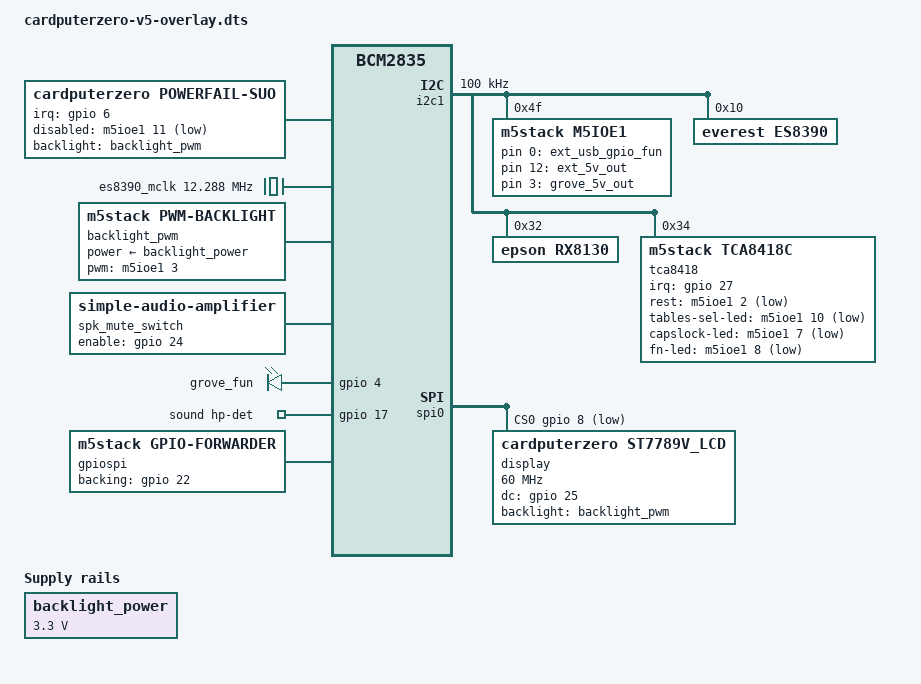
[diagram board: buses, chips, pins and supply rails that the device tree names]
// Definitions for ES8389 Audio HAT
/dts-v1/;
/plugin/;
// dtc -@ -I dts -O dtb -o es8389_m5stack.dtbo  es8389_m5stack.dts
/ {
    compatible = "brcm,bcm2835";
    
    fragment@0 {
        target = <&i2s_clk_producer>;
        __overlay__ {
            status = "okay";
        };
    };

    fragment@1 {
        target = <&gpio>;
        __overlay__ {
            tca8418_pins: tca8418_pins {
                    brcm,pins = <27>;
                    brcm,function = <0>;
                    brcm,pull = <2>;
            };
            sound_phones_pins: sound_phones_pins {
                    brcm,pins = <17>;
                    brcm,function = <0>;
                    brcm,pull = <2>;
            };
            grove_fun_pins: grove_fun_pins {
                    brcm,pins = <4>;
                    brcm,function = <1>;
                    brcm,pull = <0>;
            };
        };
    };

    fragment@2 {
        target = <&i2c1>;
        __overlay__ {
            #address-cells = <1>;
            #size-cells = <0>;
            clock-frequency = <100000>;
            status = "okay";

            
            m5ioe1: gpio@4f {
                    compatible = "m5stack,m5ioe1";
                    reg = <0x4f>;
                    
                    gpio-controller;
                    #gpio-cells = <2>;
                    ngpios = <16>;
                    
                    #pwm-cells = <3>;
                    status = "okay";

                    ext_usb_gpio_fun_pin: IO1 {
                            bias-disable;
                    };

                    grove_5v_out_pin: IO4 {
                            bias-disable;
                    };

                    ext_5v_out_pin: IO13 {
                            bias-disable;
                    };
            };

            es8390: es8390@10 {
                compatible = "everest,es8390";
                reg = <0x10>;
                #sound-dai-cells = <0>;
                clock-names = "mclk";
                clocks = <&es8390_mclk>;
                snd_def-ADCL_PGA_Volume = <8>;
                snd_def-ADCR_PGA_Volume = <8>;
                status = "okay";
            };


            rx8130: rx8130@32 {
                compatible = "epson,rx8130";
                reg = <0x32>;
                status = "okay";
            };


            tca8418@34 {
                compatible = "m5stack,tca8418c"; 
                reg = <0x34>;
                pinctrl-names = "default";
                pinctrl-0 = <&tca8418_pins>;
                interrupt-parent = <&gpio>;
                interrupts = <27 8>; /* Interrupt IO, low-level trigger */
                irq-gpios = <&gpio 27 0x00>;
                    
                keypad,num-rows = <5>;
                keypad,num-columns = <10>;

                rest-gpios      = <&m5ioe1 2 1>;

                tables-sel-led-gpio = <&m5ioe1 10 1>;
                capslock-led-gpio   = <&m5ioe1 7 1>;
                fn-led-gpio         = <&m5ioe1 8 1>;
                tables-sel-led-mode    = <&m5ioe1 0xBF>;
                capslock-led-mode    = <&m5ioe1 0xBD>;
                fn-led-mode    = <&m5ioe1 0xBE>;

                sym-button-code = <0x43>; 
                fn-button-code = <0x42>;  
                asmux-button-code = <0x41>; 

                // switch-button-code = <73>; /* Switch button keycode */
                // interrupt-controller;
                /* row | column | key-code, for example: 04,08,0010 for the Q key */
                /* row | column | key-code, for example: 04,08,0010 => Q key */
                linux,keymap = <
                    0x04000001 /* row=0x04 col=0x00 keycode=0x0001  KEY_ESC        Esc */
                    0x0409000f /* row=0x04 col=0x09 keycode=0x000f  KEY_TAB        Tab */

                    0x04040002 /* row=0x04 col=0x04 keycode=0x0002  KEY_1          1 */
                    0x00000003 /* row=0x00 col=0x00 keycode=0x0003  KEY_2          2 */
                    0x00010004 /* row=0x00 col=0x01 keycode=0x0004  KEY_3          3 */
                    0x00020005 /* row=0x00 col=0x02 keycode=0x0005  KEY_4          4 */
                    0x00030006 /* row=0x00 col=0x03 keycode=0x0006  KEY_5          5 */
                    0x00040007 /* row=0x00 col=0x04 keycode=0x0007  KEY_6          6 */
                    0x00050008 /* row=0x00 col=0x05 keycode=0x0008  KEY_7          7 */
                    0x00060009 /* row=0x00 col=0x06 keycode=0x0009  KEY_8          8 */
                    0x0007000a /* row=0x00 col=0x07 keycode=0x000a  KEY_9          9 */
                    0x0008000b /* row=0x00 col=0x08 keycode=0x000b  KEY_0          0 */
                    0x0009000e /* row=0x00 col=0x09 keycode=0x000e  KEY_BACKSPACE  Backspace */

                    /* 0x0403000f                                   Sym function key */
                    0x01000010 /* row=0x01 col=0x00 keycode=0x0010  KEY_Q          Q */
                    0x01010011 /* row=0x01 col=0x01 keycode=0x0011  KEY_W          W */
                    0x01020012 /* row=0x01 col=0x02 keycode=0x0012  KEY_E          E */
                    0x01030013 /* row=0x01 col=0x03 keycode=0x0013  KEY_R          R */
                    0x01040014 /* row=0x01 col=0x04 keycode=0x0014  KEY_T          T */
                    0x01050015 /* row=0x01 col=0x05 keycode=0x0015  KEY_Y          Y */
                    0x01060016 /* row=0x01 col=0x06 keycode=0x0016  KEY_U          U */
                    0x01070017 /* row=0x01 col=0x07 keycode=0x0017  KEY_I          I */
                    0x01080018 /* row=0x01 col=0x08 keycode=0x0018  KEY_O          O */
                    0x01090019 /* row=0x01 col=0x09 keycode=0x0019  KEY_P          P */


                    0x0401002a /* row=0x04 col=0x01 keycode=0x002a  KEY_LEFTSHIFT    Left Shift */
                    0x0200001e /* row=0x02 col=0x00 keycode=0x001e  KEY_A          A */
                    0x0201001f /* row=0x02 col=0x01 keycode=0x001f  KEY_S          S */
                    0x02020020 /* row=0x02 col=0x02 keycode=0x0020  KEY_D          D */
                    0x02030021 /* row=0x02 col=0x03 keycode=0x0021  KEY_F          F */
                    0x02040022 /* row=0x02 col=0x04 keycode=0x0022  KEY_G          G */
                    0x02050023 /* row=0x02 col=0x05 keycode=0x0023  KEY_H          H */
                    0x02060024 /* row=0x02 col=0x06 keycode=0x0024  KEY_J          J */
                    0x02070025 /* row=0x02 col=0x07 keycode=0x0025  KEY_K          K */
                    0x02080026 /* row=0x02 col=0x08 keycode=0x0026  KEY_L          L */
                    0x0209001c /* row=0x02 col=0x09 keycode=0x001c  KEY_ENTER      Enter */

                    /* 0x0402002a                                                  Fn function key */
                    0x0300001d /* row=0x03 col=0x00 keycode=0x001d  KEY_LEFTCTRL   Left Ctrl */
                    0x03010038 /* row=0x03 col=0x01 keycode=0x0038  KEY_LEFTALT    Left Alt  */
                    0x0302002c /* row=0x03 col=0x02 keycode=0x002c  KEY_Z          Z */
                    0x0303002d /* row=0x03 col=0x03 keycode=0x002d  KEY_X          X */
                    0x0304002e /* row=0x03 col=0x04 keycode=0x002e  KEY_C          C */
                    0x0305002f /* row=0x03 col=0x05 keycode=0x002f  KEY_V          V */
                    0x03060030 /* row=0x03 col=0x06 keycode=0x0030  KEY_B          B */
                    0x03070031 /* row=0x03 col=0x07 keycode=0x0031  KEY_N          N */
                    0x03080032 /* row=0x03 col=0x08 keycode=0x0032  KEY_M          M */
                    0x03090039 /* row=0x03 col=0x09 keycode=0x0039  KEY_SPACE      Space */
                    >;
                /* row | column | key-code */
                linux,keymap1 = <
                    0x04000001 /* row=0x04 col=0x00 keycode=0x0001  KEY_ESC        Esc */
                    0x0409000f /* row=0x04 col=0x09 keycode=0x000f  KEY_TAB        Tab */


                    0x0404001a /* row=0x04 col=0x04 keycode=0x001a  KEY_LEFTBRACE          Left Brace */
                    0x0000001b /* row=0x00 col=0x00 keycode=0x001b  KEY_RIGHTBRACE         Right Brace */
                    0x00010027 /* row=0x00 col=0x01 keycode=0x0027  KEY_SEMICOLON          Semicolon */
                    0x00020028 /* row=0x00 col=0x02 keycode=0x0028  KEY_APOSTROPHE         Apostrophe */
                    0x00030029 /* row=0x00 col=0x03 keycode=0x0029  KEY_GRAVE              Grave */
                    0x0004002b /* row=0x00 col=0x04 keycode=0x002b  KEY_BACKSLASH          Backslash */
                    0x00050033 /* row=0x00 col=0x05 keycode=0x0033  KEY_COMMA              Comma */
                    0x00060034 /* row=0x00 col=0x06 keycode=0x0034  KEY_DOT                Dot */
                    0x00070035 /* row=0x00 col=0x07 keycode=0x0035  KEY_SLASH              Slash */
                    0x0008005e /* row=0x00 col=0x08 keycode=0x005e  KEY_MUHENKAN           Muhenkan */
                    0x0009000e /* row=0x00 col=0x09 keycode=0x000e  KEY_BACKSPACE    Backspace */

                    /* 0x0403000f                                                    Sym function key */
                    0x01000037 /* row=0x01 col=0x00 keycode=0x0037  KEY_KPASTERISK         Keypad Asterisk */
                    0x01010045 /* row=0x01 col=0x01 keycode=0x0045  KEY_NUMLOCK            Num Lock */
                    0x01020046 /* row=0x01 col=0x02 keycode=0x0046  KEY_SCROLLLOCK         Scroll Lock */
                    0x01030047 /* row=0x01 col=0x03 keycode=0x0047  KEY_KP7                Keypad 7 */
                    0x01040048 /* row=0x01 col=0x04 keycode=0x0048  KEY_KP8                Keypad 8 */
                    0x01050049 /* row=0x01 col=0x05 keycode=0x0049  KEY_KP9                Keypad 9 */
                    0x0106004a /* row=0x01 col=0x06 keycode=0x004a  KEY_KPMINUS            Keypad Minus */
                    0x0107004b /* row=0x01 col=0x07 keycode=0x004b  KEY_KP4                Keypad 4 */
                    0x0108004c /* row=0x01 col=0x08 keycode=0x004c  KEY_KP5                Keypad 5 */
                    0x0109004d /* row=0x01 col=0x09 keycode=0x004d  KEY_KP6                Keypad 6 */


                    0x0401004e /* row=0x04 col=0x01 keycode=0x004e  KEY_KPPLUS             Keypad Plus */
                    0x0200004f /* row=0x02 col=0x00 keycode=0x004f  KEY_KP1                Keypad 1 */
                    0x02010050 /* row=0x02 col=0x01 keycode=0x0050  KEY_KP2                Keypad 2 */
                    0x02020051 /* row=0x02 col=0x02 keycode=0x0051  KEY_KP3                Keypad 3 */
                    0x02030000 /* row=0x02 col=0x03 keycode=0x0000  KEY_RESERVED     F disabled */
                    0x02040052 /* row=0x02 col=0x04 keycode=0x0052  KEY_KP0                Keypad 0 */
                    0x02050053 /* row=0x02 col=0x05 keycode=0x0053  KEY_KPDOT              Keypad Dot */
                    0x02060055 /* row=0x02 col=0x06 keycode=0x0055  KEY_ZENKAKUHANKAKU     Zenkaku/Hankaku */
                    0x02070056 /* row=0x02 col=0x07 keycode=0x0056  KEY_102ND              102nd */
                    0x02080059 /* row=0x02 col=0x08 keycode=0x0059  KEY_RO                 Ro */
                    0x0209001c /* row=0x02 col=0x09 keycode=0x001c  KEY_ENTER        Enter */

                    /* 0x0402002a                                                  Fn function key */
                    0x0300001d /* row=0x03 col=0x00 keycode=0x001d  KEY_LEFTCTRL   Left Ctrl */
                    0x03010038 /* row=0x03 col=0x01 keycode=0x0038  KEY_LEFTALT    Left Alt  */
                    0x03020000 /* row=0x03 col=0x02 keycode=0x0000  KEY_RESERVED     Z disabled */
                    0x03030000 /* row=0x03 col=0x03 keycode=0x0000  KEY_RESERVED     X disabled */
                    0x03040000 /* row=0x03 col=0x04 keycode=0x0000  KEY_RESERVED     C disabled */
                    0x0305005a /* row=0x03 col=0x05 keycode=0x005a  KEY_KATAKANA           Katakana */
                    0x0306005b /* row=0x03 col=0x06 keycode=0x005b  KEY_HIRAGANA           Hiragana */
                    0x0307005c /* row=0x03 col=0x07 keycode=0x005c  KEY_HENKAN             Henkan */
                    0x0308005d /* row=0x03 col=0x08 keycode=0x005d  KEY_KATAKANAHIRAGANA   Katakana/Hiragana */
                    0x03090039 /* row=0x03 col=0x09 keycode=0x0039  KEY_SPACE        Space */
                    >;
                linux,keymap2 = <
                    0x04000001 /* row=0x04 col=0x00 keycode=0x0001  KEY_ESC        Esc */
                    0x0409000f /* row=0x04 col=0x09 keycode=0x000f  KEY_TAB        Tab */


                    0x0404003b /* row=0x04 col=0x04 keycode=0x003b  KEY_F1           F1 */
                    0x0000003c /* row=0x00 col=0x00 keycode=0x003c  KEY_F2           F2 */
                    0x0001003d /* row=0x00 col=0x01 keycode=0x003d  KEY_F3           F3 */
                    0x0002003e /* row=0x00 col=0x02 keycode=0x003e  KEY_F4           F4 */
                    0x0003003f /* row=0x00 col=0x03 keycode=0x003f  KEY_F5           F5 */
                    0x00040040 /* row=0x00 col=0x04 keycode=0x0040  KEY_F6           F6 */
                    0x00050041 /* row=0x00 col=0x05 keycode=0x0041  KEY_F7           F7 */
                    0x00060042 /* row=0x00 col=0x06 keycode=0x0042  KEY_F8           F8 */
                    0x00070043 /* row=0x00 col=0x07 keycode=0x0043  KEY_F9           F9 */
                    0x00080044 /* row=0x00 col=0x08 keycode=0x0044  KEY_F10          F10 */
                    0x0009006f /* row=0x00 col=0x09 keycode=0x006f  KEY_DELETE       Delete */

                    /* 0x0403000f                                                     Sym function key */
                    0x010000a4 /* row=0x01 col=0x00 keycode=0x00a4  KEY_PLAYPAUSE          Play/Pause */
                    0x010100a5 /* row=0x01 col=0x01 keycode=0x00a5  KEY_PREVIOUSSONG       Previous Song */
                    0x010200a3 /* row=0x01 col=0x02 keycode=0x00a3  KEY_NEXTSONG           Next Song */
                    0x01030013 /* row=0x01 col=0x03 keycode=0x0013  KEY_R          R */
                    0x01040014 /* row=0x01 col=0x04 keycode=0x0014  KEY_T          T */
                    0x01050015 /* row=0x01 col=0x05 keycode=0x0015  KEY_Y          Y */
                    0x010600e0 /* row=0x01 col=0x06 keycode=0x00e0  KEY_BRIGHTNESSDOWN     Brightness Down */
                    0x010700e1 /* row=0x01 col=0x07 keycode=0x00e1  KEY_BRIGHTNESSUP       Brightness Up */
                    0x01080057 /* row=0x01 col=0x08 keycode=0x0057  KEY_F11        F11 */
                    0x01090058 /* row=0x01 col=0x09 keycode=0x0058  KEY_F12        F12 */


                    0x0401002a /* row=0x04 col=0x01 keycode=0x002a  KEY_LEFTSHIFT          Left Shift */
                    0x02000071 /* row=0x02 col=0x00 keycode=0x0071  KEY_MUTE       MUTE */
                    0x02010072 /* row=0x02 col=0x01 keycode=0x0072  KEY_VOLUMEDOWN VOLUMEDOWN */
                    0x02020073 /* row=0x02 col=0x02 keycode=0x0073  KEY_VOLUMEUP   VOLUMEUP */
                    0x02030067 /* row=0x02 col=0x03 keycode=0x0067  KEY_UP          Up */
                    0x02040022 /* row=0x02 col=0x04 keycode=0x0022  KEY_G          G */
                    0x0205008a /* row=0x02 col=0x05 keycode=0x008a  KEY_HELP        Help */
                    0x02060063 /* row=0x02 col=0x06 keycode=0x0063  KEY_SYSRQ       SysRq */
                    0x02070066 /* row=0x02 col=0x07 keycode=0x0066  KEY_HOME        Home */
                    0x02080068 /* row=0x02 col=0x08 keycode=0x0068  KEY_PAGEUP      Page Up */
                    0x0209001c /* row=0x02 col=0x09 keycode=0x001c  KEY_ENTER      Enter */

                    /* 0x0402002a                                                  Fn function key */
                    0x0300001d /* row=0x03 col=0x00 keycode=0x001d  KEY_LEFTCTRL   Left Ctrl */
                    0x03010038 /* row=0x03 col=0x01 keycode=0x0038  KEY_LEFTALT    Left Alt  */
                    0x03020069 /* row=0x03 col=0x02 keycode=0x0069  KEY_LEFT        Left */
                    0x0303006c /* row=0x03 col=0x03 keycode=0x006c  KEY_DOWN        Down */
                    0x0304006a /* row=0x03 col=0x04 keycode=0x006a  KEY_RIGHT       Right */
                    0x0305002f /* row=0x03 col=0x05 keycode=0x002f  KEY_V          V */
                    0x0306006e /* row=0x03 col=0x06 keycode=0x006e  KEY_INSERT      Insert */
                    0x0307006b /* row=0x03 col=0x07 keycode=0x006b  KEY_END         End */
                    0x0308006d /* row=0x03 col=0x08 keycode=0x006d  KEY_PAGEDOWN    Page Down */
                    0x03090039 /* row=0x03 col=0x09 keycode=0x0039  KEY_SPACE      Space */
                    >;
            };
        };
    };


    fragment@3 {
        target-path = "/";
        __overlay__ {

            powerfail {
                compatible = "cardputerzero,powerfail-suo";
                debounce-ms = <500>;
                interrupt-parent = <&gpio>;
                interrupts = <6 2>; /* Interrupt IO, falling-edge trigger  */
                irq-gpios = <&gpio 6 0>; /* Interrupt IO, falling-edge trigger */
                backlight = <&backlight_pwm>;
                disabled-gpios = <&m5ioe1 11 1>;
            };

            es8390_mclk: es8390_mclk {
                compatible = "fixed-clock";
                #clock-cells = <0>;
                clock-frequency = <12288000>;
            };

            backlight_power: backlight-regulator {
                compatible = "regulator-fixed";
                regulator-name = "backlight-vcc";
                regulator-min-microvolt = <3300000>;
                regulator-max-microvolt = <3300000>;
                regulator-boot-on;  /* Enable at boot */
            };

            backlight_pwm: backlight {
                compatible = "m5stack,pwm-backlight";
                pwms = <&m5ioe1 3 50000 0>;

                brightness-levels = <
                    0   500   1000  1500  2000  2500  3000  3500  4000  4500
                    5000 5500 6000  6500  7000  7500  8000  8500  9000  9500
                    10000 10500 11000 11500 12000 12500 13000 13500 14000 14500
                    15000 15500 16000 16500 17000 17500 18000 18500 19000 19500
                    20000 20500 21000 21500 22000 22500 23000 23500 24000 24500
                    25000 25500 26000 26500 27000 27500 28000 28500 29000 29500
                    30000 30500 31000 31500 32000 32500 33000 33500 34000 34500
                    35000 35500 36000 36500 37000 37500 38000 38500 39000 39500
                    40000 40500 41000 41500 42000 42500 43000 43500 44000 44500
                    45000 45500 46000 46500 47000 47500 48000 48500 49000 49500
                    50000
                >;
                default-brightness-level = <75>;
                power-supply = <&backlight_power>;
                /* Force the backlight on during initialization */
                force-enable-on-init;
            };

            spk_mute_switch: spk-mute-switch {
                compatible = "simple-audio-amplifier";
                m5stack,mono;

                enable-gpios = <&gpio 24 0>;

                sound-name-prefix = "Speaker Switch";
            };

            leds {
                compatible = "gpio-leds";
                pinctrl-names = "default";
                pinctrl-0 = <&grove_fun_pins>,
                            <&ext_usb_gpio_fun_pin>,
                            <&ext_5v_out_pin>,
                            <&grove_5v_out_pin>;

                grove_fun {
                    label = "grove_fun";
                    gpios = <&gpio 4 0>;
                    default-state = "off";
                };

                ext_usb_gpio_fun {
                    label = "ext_usb_gpio_fun";
                    gpios = <&m5ioe1 0 0>;
                    default-state = "off";
                };

                ext_5v_out {
                    label = "ext_5v_out";
                    gpios = <&m5ioe1 12 0>;
                    default-state = "off";
                };

                grove_5v_out {
                    label = "grove_5v_out";
                    gpios = <&m5ioe1 3 0>;
                    default-state = "off";
                };
            };


            sound {
                pinctrl-names = "default";
                pinctrl-0 = <&sound_phones_pins>;
                compatible = "m5stack,cardputerzero-audio";
                simple-audio-card,name = "ES8389-Audio";
                simple-audio-card,fully-routed;
                status = "okay";

                simple-audio-card,hp-det-gpios = <&gpio 17 0>;
                m5stack,hp-mute-pins = "Speaker";
                m5stack,hp-absent-controls =
                    "PGAL Select=Line 1P",
                    "PGAR Select=Line 1N";
                m5stack,hp-present-controls =
                    "PGAL Select=Line 2P",
                    "PGAR Select=Line 2N";

                simple-audio-card,aux-devs = <
                    &spk_mute_switch
                >;
                simple-audio-card,widgets =
                    "Headphone", "Headphones",
                    "Microphone", "Mic Jack",
                    "Speaker", "Speaker";

                simple-audio-card,pin-switches =
                    "Mic Jack",
                    "Speaker";

                simple-audio-card,routing =
                    "Headphones", "HPOL",
                    "Headphones", "HPOR",

                    "INPUT1", "Mic Jack",
                    "INPUT2", "Mic Jack",

                    "Speaker Switch DRV", "HPOL",
                    "Speaker", "Speaker Switch DRV";
                simple-audio-card,dai-link {
                    format = "i2s";
                    bitclock-master = <&dailink0_master>;
                    frame-master = <&dailink0_master>;

                    dailink0_master: cpu {
                        sound-dai = <&i2s_clk_producer>;
                    };

                    dailink0_slave: codec {
                        sound-dai = <&es8390>;
                    };
                };
            };

        };
        
    };

    fragment@4 {
        target = <&spi0>;
        __overlay__ {
            status = "okay";

            #address-cells = <1>;
            #size-cells = <0>;

            num-cs = <3>;
            cs-gpios = <&gpio 8 1>,
                        <&gpio 7 1>,
                        <&gpiospi 0 1>;

            display: st7789v@0 {
                compatible = "cardputerzero,st7789v_lcd", "panel-mipi-dbi-m5stack";
                reg = <0>;
                spi-max-frequency = <60000000>;

                dc-gpios    = <&gpio 25 0>;
                // te-gpios    = <&gpio 5  0>;
                /* reset-gpios = <&gpio 27 GPIO_ACTIVE_LOW>;  Enable if required by the actual wiring */

                backlight = <&backlight_pwm>;
                write-only;
                format = "r5g6b5";

                width-mm  = <26>;
                height-mm = <14>;

                panel-timing {
                    clock-frequency = <1968000>;
                    hactive = <320>;
                    vactive = <170>;
                    hfront-porch = <0>;
                    hsync-len    = <0>;
                    hback-porch  = <0>;
                    vfront-porch = <0>;
                    vsync-len    = <0>;
                    vback-porch  = <35>;
                };
            };
        };
    };

    fragment@5 {
        target = <&spidev0>;
        __overlay__ {
            status = "disabled";
        };
    };

    fragment@6 {
        target-path = "/";
        __overlay__ {
            gpiospi: gpio-spi-cs {
                compatible = "m5stack,gpio-forwarder";
                gpio-controller;
                #gpio-cells = <2>;

                /* GPIO_ACTIVE_HIGH: forwarding uses raw GPIO values. */
                backing-gpios = <&gpio 22 0>;
                spi-bus-num = <0>;
                spi-chip-select = <2>;
                status = "okay";
            };
        };
    };
};
